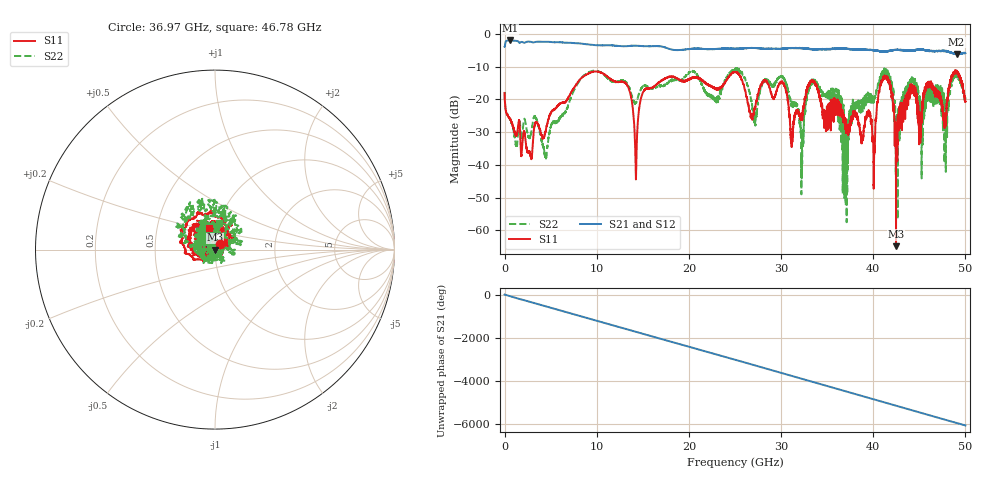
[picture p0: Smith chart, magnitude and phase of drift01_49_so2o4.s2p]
!Created with skrf (http://scikit-rf.org).
# Hz S RI R 50.0
!freq ReS11 ImS11 ReS21 ImS21 ReS12 ImS12 ReS22 ImS22
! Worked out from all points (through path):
!   10001 points, 300 kHz to 50 GHz, reference 50 ohm
!   highest |S21| = -2.00 dB at 570.3 MHz (marker M1); lowest = -6.1 dB at 49.05 GHz (marker M2)
!   group delay of S21, straight-line fit = 336 ps
!   lowest |S11| = -64.8 dB at 42.48 GHz (marker M3), VSWR 1.00, Z = 50 - j0.0369 ohm
!   |S11| at or under -10 dB: start of sweep to end of sweep
!   |S22| runs from -57.5 to -10.5 dB; largest |S21 - S12| = 0.02
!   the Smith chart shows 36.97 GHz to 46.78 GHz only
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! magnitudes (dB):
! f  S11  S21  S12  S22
! 300 kHz  -18.1  -4.0  -4.0  -17.7
! 570.3 MHz  -26.0  -2.0  -2.0  -26.1
! 4.435 GHz  -30.0  -2.4  -2.4  -37.0
! 8.335 GHz  -13.5  -3.0  -3.0  -13.5
! 13.17 GHz  -15.2  -3.8  -3.8  -14.6
! 14.25 GHz  -44.4  -3.6  -3.6  -21.1
! 16.67 GHz  -14.9  -3.7  -3.7  -15.8
! 25 GHz  -11.7  -4.5  -4.6  -11.1
! 27.14 GHz  -22.6  -4.3  -4.3  -25.3
! 30.2 GHz  -15.1  -4.5  -4.5  -13.2
! 31.14 GHz  -33.1  -4.3  -4.3  -21.5
! 32.23 GHz  -24.5  -4.4  -4.3  -43.3
! 33.34 GHz  -14.4  -4.7  -4.6  -14.6
! 36.07 GHz  -22.4  -4.6  -4.5  -19.1
! 37.04 GHz  -27.1  -4.6  -4.5  -31.9
! 40.09 GHz  -39.4  -5.0  -5.0  -19.9
! 41.67 GHz  -14.5  -5.1  -5.2  -12.3
! 42.48 GHz  -64.8  -4.9  -4.8  -31.6
! 44.14 GHz  -17.0  -5.0  -5.1  -14.4
! 45.31 GHz  -21.9  -4.7  -4.8  -23.2
! 49.05 GHz  -11.6  -6.1  -6.1  -12.2
! 50 GHz  -20.7  -5.9  -5.9  -20.0
